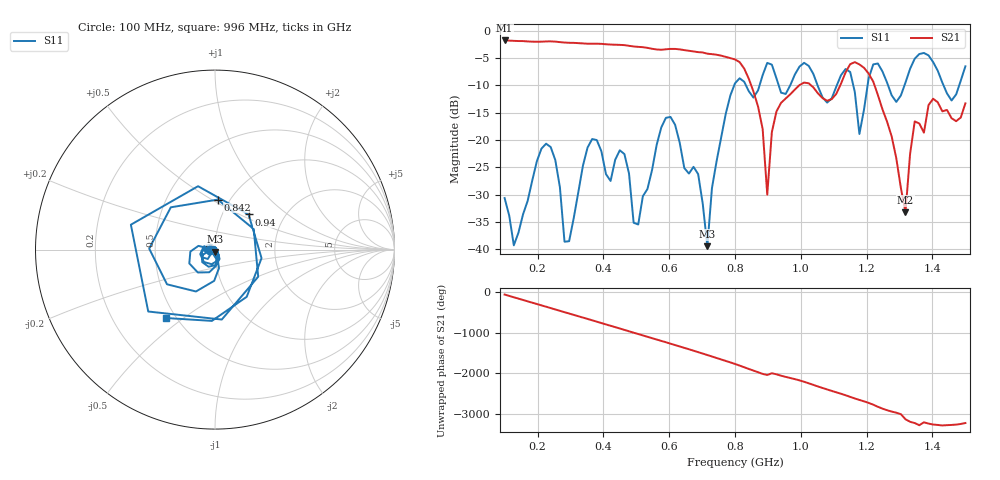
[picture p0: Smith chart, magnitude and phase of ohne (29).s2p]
! NanoVNA-App
! Date: 2025-09-26 09:55:37
! Start: 100MHz Stop: 1,5GHz Points: 101
! S-Parameter data: F S11 S21 S12 S22
# Hz S RI R 50
!  Frequency  S11_Real  S11_Imag  S21_Real  S21_Imag  S12_Real  S12_Imag  S22_Real  S22_Imag
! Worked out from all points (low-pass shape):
!   101 points, 100 MHz to 1.5 GHz, reference 50 ohm
!   highest |S21| = -1.79 dB at 100 MHz (marker M1); lowest = -33.2 dB at 1.318 GHz (marker M2)
!   |S21| within 3 dB of the highest: start of sweep to 771.3 MHz
!   lowest |S11| = -39.4 dB at 716 MHz (marker M3), VSWR 1.02, Z = 49.9 - j1.06 ohm
!   |S11| at or under -10 dB: start of sweep to 797.6 MHz; 833.2 MHz to 874.7 MHz (41.43 MHz wide, 4.85 % of centre); 1.051 GHz to 1.109 GHz (58.55 MHz wide, 5.42 % of centre)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
!   S12 and S22 are empty: the file has one direction only
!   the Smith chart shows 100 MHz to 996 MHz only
!   S11 on the Smith chart (normalised r, x): 100 MHz: 0.94, -0.01; 842 MHz: 0.88, +0.53; 940 MHz: 1.33, +0.56; 996 MHz: 0.44, -0.43
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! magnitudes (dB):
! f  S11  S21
! 100 MHz  -30.6  -1.8
! 128 MHz  -39.3  -1.9
! 226 MHz  -20.7  -2.0
! 296 MHz  -38.5  -2.2
! 338 MHz  -24.7  -2.3
! 464 MHz  -22.6  -2.6
! 506 MHz  -35.5  -3.0
! 576 MHz  -17.7  -3.5
! 716 MHz  -39.4  -4.2
! 800 MHz  -9.6  -5.3
! 842 MHz  -11.1  -8.8
! 898 MHz  -5.9  -30.0
! 940 MHz  -11.3  -13.2
! 996 MHz  -6.6  -10.0
! 1.038 GHz  -7.9  -10.4
! 1.15 GHz  -7.6  -6.1
! 1.178 GHz  -18.9  -6.2
! 1.22 GHz  -6.2  -9.3
! 1.276 GHz  -11.8  -19.3
! 1.318 GHz  -9.5  -33.2
! 1.346 GHz  -5.1  -16.6
! 1.5 GHz  -6.5  -13.3
